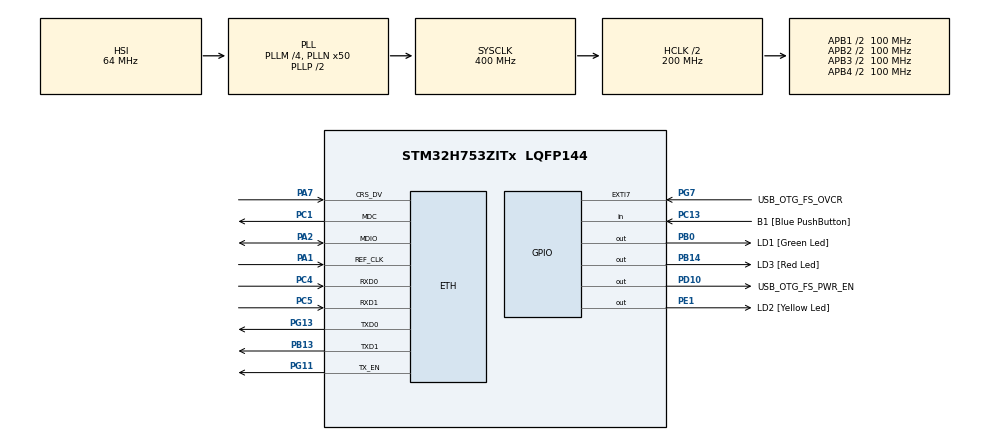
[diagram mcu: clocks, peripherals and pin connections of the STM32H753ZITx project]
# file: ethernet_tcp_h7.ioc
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CORTEX_M7.AccessPermission_S-Cortex_Memory_Protection_Unit_Region1_Settings_S=MPU_REGION_FULL_ACCESS
CORTEX_M7.AccessPermission_S-Cortex_Memory_Protection_Unit_Region2_Settings_S=MPU_REGION_FULL_ACCESS
CORTEX_M7.BaseAddress_S-Cortex_Memory_Protection_Unit_Region1_Settings_S=0x30000000
CORTEX_M7.BaseAddress_S-Cortex_Memory_Protection_Unit_Region2_Settings_S=0x30000000
CORTEX_M7.CPU_DCache=Enabled
CORTEX_M7.CPU_ICache=Enabled
CORTEX_M7.Enable_S-Cortex_Memory_Protection_Unit_Region1_Settings_S=MPU_REGION_ENABLE
CORTEX_M7.Enable_S-Cortex_Memory_Protection_Unit_Region2_Settings_S=MPU_REGION_ENABLE
CORTEX_M7.MPU_Control=MPU_PRIVILEGED_DEFAULT
CORTEX_M7.Size_S-Cortex_Memory_Protection_Unit_Region1_Settings_S=MPU_REGION_SIZE_64KB
CORTEX_M7.Size_S-Cortex_Memory_Protection_Unit_Region2_Settings_S=MPU_REGION_SIZE_256B
CORTEX_M7.TypeExtField_S-Cortex_Memory_Protection_Unit_Region1_Settings_S=MPU_TEX_LEVEL1
CORTEX_M7.default_mode_Activation=1
ETH.MediaInterface=HAL_ETH_RMII_MODE
LWIP.BSP.number=1
LWIP.IP_ADDRESS=192.168.001.004
LWIP.LWIP_DHCP=0
LWIP.MEMP_NUM_TCP_SEG=17
LWIP.MEM_SIZE=10000
LWIP.NETMASK_ADDRESS=255.255.255.000
LWIP.TCP_MSS=1460
LWIP.TCP_QUEUE_OOSEQ=0
LWIP.TCP_SND_BUF=5840
LWIP.Version=v2.1.2_Cube
LWIP0.BSP.STBoard=false
LWIP0.BSP.api=BSP_COMPONENT_DRIVER
LWIP0.BSP.component=LAN8742
LWIP0.BSP.instance=LAN8742
LWIP0.BSP.name=Driver_PHY
LWIP0.BSP.semaphore=S_LAN8742
LWIP0.BSP.solution=LAN8742
Mcu.Family=STM32H7
Mcu.Name=STM32H753ZITx
Mcu.Package=LQFP144
NVIC.PriorityGroup=NVIC_PRIORITYGROUP_4
PA1.GPIO_Speed=GPIO_SPEED_FREQ_VERY_HIGH
PA1.Mode=RMII
PA1.Signal=ETH_REF_CLK
PA11.Signal=USB_OTG_FS_DM
PA12.Signal=USB_OTG_FS_DP
PA2.GPIO_Speed=GPIO_SPEED_FREQ_VERY_HIGH
PA2.Mode=RMII
PA2.Signal=ETH_MDIO
PA7.GPIO_Speed=GPIO_SPEED_FREQ_VERY_HIGH
PA7.Mode=RMII
PA7.Signal=ETH_CRS_DV
PA8.Signal=USB_OTG_FS_SOF
PA9.Signal=USB_OTG_FS_VBUS
PB0.GPIO_Label=LD1 [Green Led]
PB0.Signal=GPIO_Output
PB13.GPIO_Speed=GPIO_SPEED_FREQ_VERY_HIGH
PB13.Mode=RMII
PB13.Signal=ETH_TXD1
PB14.GPIO_Label=LD3 [Red Led]
PB14.Signal=GPIO_Output
PC1.GPIO_Speed=GPIO_SPEED_FREQ_VERY_HIGH
PC1.Mode=RMII
PC1.Signal=ETH_MDC
PC13.GPIO_Label=B1 [Blue PushButton]
PC13.Signal=GPIO_Input
PC14-OSC32_IN\ (OSC32_IN).Signal=RCC_OSC32_IN
PC15-OSC32_OUT\ (OSC32_OUT).Signal=RCC_OSC32_OUT
PC4.GPIO_Speed=GPIO_SPEED_FREQ_VERY_HIGH
PC4.Mode=RMII
PC4.Signal=ETH_RXD0
PC5.GPIO_Speed=GPIO_SPEED_FREQ_VERY_HIGH
PC5.Mode=RMII
PC5.Signal=ETH_RXD1
PD10.GPIO_Label=USB_OTG_FS_PWR_EN
PD10.Signal=GPIO_Output
PD8.GPIO_Label=STLINK_RX
PD8.Signal=USART3_TX
PD9.GPIO_Label=STLINK_TX
PD9.Signal=USART3_RX
PE1.GPIO_Label=LD2 [Yellow Led]
PE1.Signal=GPIO_Output
PG11.GPIO_Speed=GPIO_SPEED_FREQ_VERY_HIGH
PG11.Mode=RMII
PG11.Signal=ETH_TX_EN
PG13.GPIO_Speed=GPIO_SPEED_FREQ_VERY_HIGH
PG13.Mode=RMII
PG13.Signal=ETH_TXD0
PG7.GPIO_Label=USB_OTG_FS_OVCR
PG7.Signal=GPXTI7
PH0-OSC_IN\ (PH0).Signal=RCC_OSC_IN
PH1-OSC_OUT\ (PH1).Signal=RCC_OSC_OUT
ProjectManager.HeapSize=0x200
ProjectManager.StackSize=0x400
ProjectManager.TargetToolchain=STM32CubeIDE
RCC.ADCFreq_Value=129000000
RCC.APB1Freq_Value=100000000
RCC.APB2Freq_Value=100000000
RCC.APB3Freq_Value=100000000
RCC.APB4Freq_Value=100000000
RCC.CortexFreq_Value=400000000
RCC.D1PPRE=RCC_APB3_DIV2
RCC.D2PPRE1=RCC_APB1_DIV2
RCC.D2PPRE2=RCC_APB2_DIV2
RCC.D3PPRE=RCC_APB4_DIV2
RCC.DIVM1=4
RCC.DIVN1=50
RCC.DIVQ1=4
RCC.HCLKFreq_Value=200000000
RCC.HPRE=RCC_HCLK_DIV2
RCC.HSE_VALUE=8000000
RCC.PLL2FRACN=0
RCC.PLL3FRACN=0
RCC.PLLFRACN=0
RCC.PWR_Regulator_Voltage_Scale=PWR_REGULATOR_VOLTAGE_SCALE1
RCC.SYSCLKFreq_VALUE=400000000
RCC.SYSCLKSource=RCC_SYSCLKSOURCE_PLLCLK
RCC.USBFreq_Value=200000000
VP_LWIP_VS_Enabled.Mode=Enabled
VP_MEMORYMAP_VS_MEMORYMAP.Mode=CurAppReg
board=NUCLEO-H753ZI

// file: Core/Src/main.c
/* USER CODE BEGIN Header */
/**
  ******************************************************************************
  * @file           : main.c
  * @brief          : Main program body
  ******************************************************************************
  * @attention
  *
  * Copyright (c) 2024 STMicroelectronics.
  * All rights reserved.
  *
  * This software is licensed under terms that can be found in the LICENSE file
  * in the root directory of this software component.
  * If no LICENSE file comes with this software, it is provided AS-IS.
  *
  ******************************************************************************
  */
/* USER CODE END Header */
#include "main.h"
#include "lwip.h"

/* USER CODE BEGIN Includes */
#include "lwip/tcp.h"
/* USER CODE END Includes */

/* USER CODE BEGIN PV */
uint32_t connect=0;
struct tcp_pcb *tcp_echoserver_pcb;
uint8_t data[100] = {"Hello"};
/* USER CODE END PV */

void SystemClock_Config(void);
static void MPU_Config(void);
static void MX_GPIO_Init(void);
/* USER CODE BEGIN PFP */
static err_t tcp_echoclient_sent(void *arg, struct tcp_pcb *tpcb, u16_t len);
static err_t tcp_echoserver_accept(void *arg, struct tcp_pcb *tpcb, err_t err);
static err_t tcp_echoclient_poll(void *arg, struct tcp_pcb *tpcb);
static err_t tcp_echoclient_recv(void *arg, struct tcp_pcb *tpcb, struct pbuf *p, err_t err);
/* USER CODE END PFP */

/* USER CODE BEGIN 0 */
/**
  * @brief Function called when TCP connection established
  * @param tpcb: pointer on the connection control block
  * @param err: when connection correctly established err should be ERR_OK
  * @retval err_t: returned error
  */
static err_t tcp_echoserver_accept(void *arg, struct tcp_pcb *tpcb, err_t err){
  __NOP();

  /* initialize LwIP tcp_sent callback function */
  tcp_sent(tpcb, tcp_echoclient_sent);

  /* initialize LwIP tcp_poll callback function */
  tcp_poll(tpcb, tcp_echoclient_poll, 10);

  /* initialize LwIP tcp_recv callback function */
  tcp_recv(tpcb, tcp_echoclient_recv);
  return ERR_OK;
}

/**
  * @brief tcp_receiv callback
  * @param arg: argument to be passed to receive callback
  * @param tpcb: tcp connection control block
  * @param err: receive error code
  * @retval err_t: returned error
  */
static err_t tcp_echoclient_recv(void *arg, struct tcp_pcb *tpcb, struct pbuf *p, err_t err){
  /* if we receive an empty tcp frame from server => close connection */
  if (p == NULL)
  {
    /* remove callbacks */
    tcp_recv(tpcb, NULL);
    tcp_sent(tpcb, NULL);
    tcp_poll(tpcb, NULL,0);
  }
  else{
      {
        struct pbuf *ptr;
          err_t wr_err = ERR_OK;
        /* enqueue data for transmission */
        wr_err = tcp_write(tpcb, p->payload, p->tot_len, 1);
      }
         /* Acknowledge data reception */
      tcp_recved(tpcb, p->tot_len);
      pbuf_free(p);
  }
  return ERR_OK;
}

/**
  * @brief  This function implements the tcp_poll callback function
  * @param  arg: pointer on argument passed to callback
  * @param  tpcb: tcp connection control block
  * @retval err_t: error code
  */
static err_t tcp_echoclient_poll(void *arg, struct tcp_pcb *tpcb){
  /*sending data*/
  {
    struct pbuf *ptr;
      err_t wr_err = ERR_OK;
    /* enqueue data for transmission */
    wr_err = tcp_write(tpcb, data, 10, 1);
  }
  return ERR_OK;
}

/**
  * @brief  This function implements the tcp_sent LwIP callback (called when ACK
  *         is received from remote host for sent data)
  * @param  arg: pointer on argument passed to callback
  * @param  tcp_pcb: tcp connection control block
  * @param  len: length of data sent
  * @retval err_t: returned error code
  */
static err_t tcp_echoclient_sent(void *arg, struct tcp_pcb *tpcb, u16_t len){
  __NOP();
  return ERR_OK;
}
/* USER CODE END 0 */

int main(void)
{

  /* MPU Configuration--------------------------------------------------------*/
  MPU_Config();

  /* Enable the CPU Cache */

  /* Enable I-Cache---------------------------------------------------------*/
  SCB_EnableICache();

  /* Enable D-Cache---------------------------------------------------------*/
  SCB_EnableDCache();

  /* MCU Configuration--------------------------------------------------------*/

  /* Reset of all peripherals, Initializes the Flash interface and the Systick. */
  HAL_Init();

  /* Configure the system clock */
  SystemClock_Config();

  /* Initialize all configured peripherals */
  MX_GPIO_Init();
  MX_LWIP_Init();

  /* Infinite loop */
  /* USER CODE BEGIN WHILE */
  while (1)
  {

    MX_LWIP_Process();
    if(connect){
      connect=0;
      /* create new tcp pcb */
      tcp_echoserver_pcb = tcp_new();
      if (tcp_echoserver_pcb != NULL)
      {
        err_t err;
        /* bind echo_pcb to port 7 (ECHO protocol) */
        err = tcp_bind(tcp_echoserver_pcb, IP_ADDR_ANY, 3999);
        if (err == ERR_OK)
        {
            /* start tcp listening for echo_pcb */
          tcp_echoserver_pcb = tcp_listen(tcp_echoserver_pcb);
          /* initialize LwIP tcp_accept callback function */
          tcp_accept(tcp_echoserver_pcb, tcp_echoserver_accept);
        }
        // ip_addr_t DestIPaddr;
        // IP4_ADDR( &DestIPaddr, 192, 168, 1, 1 );
        /* connect to destination address/port */
        // tcp_connect(echoclient_pcb,&DestIPaddr,3999,tcp_echoclient_connected);
      }
    }
    /* USER CODE END WHILE */

  }
}

void SystemClock_Config(void)
{
  RCC_OscInitTypeDef RCC_OscInitStruct = {0};
  RCC_ClkInitTypeDef RCC_ClkInitStruct = {0};

  /** Supply configuration update enable
  */
  HAL_PWREx_ConfigSupply(PWR_LDO_SUPPLY);

  /** Configure the main internal regulator output voltage
  */
  __HAL_PWR_VOLTAGESCALING_CONFIG(PWR_REGULATOR_VOLTAGE_SCALE1);

  while(!__HAL_PWR_GET_FLAG(PWR_FLAG_VOSRDY)) {}

  /** Initializes the RCC Oscillators according to the specified parameters
  * in the RCC_OscInitTypeDef structure.
  */
  RCC_OscInitStruct.OscillatorType = RCC_OSCILLATORTYPE_HSI;
  RCC_OscInitStruct.HSIState = RCC_HSI_DIV1;
  RCC_OscInitStruct.HSICalibrationValue = RCC_HSICALIBRATION_DEFAULT;
  RCC_OscInitStruct.PLL.PLLState = RCC_PLL_ON;
  RCC_OscInitStruct.PLL.PLLSource = RCC_PLLSOURCE_HSI;
  RCC_OscInitStruct.PLL.PLLM = 4;
  RCC_OscInitStruct.PLL.PLLN = 50;
  RCC_OscInitStruct.PLL.PLLP = 2;
  RCC_OscInitStruct.PLL.PLLQ = 4;
  RCC_OscInitStruct.PLL.PLLR = 2;
  RCC_OscInitStruct.PLL.PLLRGE = RCC_PLL1VCIRANGE_3;
  RCC_OscInitStruct.PLL.PLLVCOSEL = RCC_PLL1VCOWIDE;
  RCC_OscInitStruct.PLL.PLLFRACN = 0;
  if (HAL_RCC_OscConfig(&RCC_OscInitStruct) != HAL_OK)
  {
    Error_Handler();
  }

  /** Initializes the CPU, AHB and APB buses clocks
  */
  RCC_ClkInitStruct.ClockType = RCC_CLOCKTYPE_HCLK|RCC_CLOCKTYPE_SYSCLK
                              |RCC_CLOCKTYPE_PCLK1|RCC_CLOCKTYPE_PCLK2
                              |RCC_CLOCKTYPE_D3PCLK1|RCC_CLOCKTYPE_D1PCLK1;
  RCC_ClkInitStruct.SYSCLKSource = RCC_SYSCLKSOURCE_PLLCLK;
  RCC_ClkInitStruct.SYSCLKDivider = RCC_SYSCLK_DIV1;
  RCC_ClkInitStruct.AHBCLKDivider = RCC_HCLK_DIV2;
  RCC_ClkInitStruct.APB3CLKDivider = RCC_APB3_DIV2;
  RCC_ClkInitStruct.APB1CLKDivider = RCC_APB1_DIV2;
  RCC_ClkInitStruct.APB2CLKDivider = RCC_APB2_DIV2;
  RCC_ClkInitStruct.APB4CLKDivider = RCC_APB4_DIV2;

  if (HAL_RCC_ClockConfig(&RCC_ClkInitStruct, FLASH_LATENCY_2) != HAL_OK)
  {
    Error_Handler();
  }
}

static void MX_GPIO_Init(void)
{
  GPIO_InitTypeDef GPIO_InitStruct = {0};

  /* GPIO Ports Clock Enable */
  __HAL_RCC_GPIOC_CLK_ENABLE();
  __HAL_RCC_GPIOH_CLK_ENABLE();
  __HAL_RCC_GPIOA_CLK_ENABLE();
  __HAL_RCC_GPIOB_CLK_ENABLE();
  __HAL_RCC_GPIOD_CLK_ENABLE();
  __HAL_RCC_GPIOG_CLK_ENABLE();
  __HAL_RCC_GPIOE_CLK_ENABLE();

  /*Configure GPIO pin Output Level */
  HAL_GPIO_WritePin(GPIOB, LD1_Pin|LD3_Pin, GPIO_PIN_RESET);

  /*Configure GPIO pin Output Level */
  HAL_GPIO_WritePin(USB_OTG_FS_PWR_EN_GPIO_Port, USB_OTG_FS_PWR_EN_Pin, GPIO_PIN_RESET);

  /*Configure GPIO pin Output Level */
  HAL_GPIO_WritePin(LD2_GPIO_Port, LD2_Pin, GPIO_PIN_RESET);

  /*Configure GPIO pin : B1_Pin */
  GPIO_InitStruct.Pin = B1_Pin;
  GPIO_InitStruct.Mode = GPIO_MODE_INPUT;
  GPIO_InitStruct.Pull = GPIO_NOPULL;
  HAL_GPIO_Init(B1_GPIO_Port, &GPIO_InitStruct);

  /*Configure GPIO pins : LD1_Pin LD3_Pin */
  GPIO_InitStruct.Pin = LD1_Pin|LD3_Pin;
  GPIO_InitStruct.Mode = GPIO_MODE_OUTPUT_PP;
  GPIO_InitStruct.Pull = GPIO_NOPULL;
  GPIO_InitStruct.Speed = GPIO_SPEED_FREQ_LOW;
  HAL_GPIO_Init(GPIOB, &GPIO_InitStruct);

  /*Configure GPIO pins : STLINK_RX_Pin STLINK_TX_Pin */
  GPIO_InitStruct.Pin = STLINK_RX_Pin|STLINK_TX_Pin;
  GPIO_InitStruct.Mode = GPIO_MODE_AF_PP;
  GPIO_InitStruct.Pull = GPIO_NOPULL;
  GPIO_InitStruct.Speed = GPIO_SPEED_FREQ_LOW;
  GPIO_InitStruct.Alternate = GPIO_AF7_USART3;
  HAL_GPIO_Init(GPIOD, &GPIO_InitStruct);

  /*Configure GPIO pin : USB_OTG_FS_PWR_EN_Pin */
  GPIO_InitStruct.Pin = USB_OTG_FS_PWR_EN_Pin;
  GPIO_InitStruct.Mode = GPIO_MODE_OUTPUT_PP;
  GPIO_InitStruct.Pull = GPIO_NOPULL;
  GPIO_InitStruct.Speed = GPIO_SPEED_FREQ_LOW;
  HAL_GPIO_Init(USB_OTG_FS_PWR_EN_GPIO_Port, &GPIO_InitStruct);

  /*Configure GPIO pin : USB_OTG_FS_OVCR_Pin */
  GPIO_InitStruct.Pin = USB_OTG_FS_OVCR_Pin;
  GPIO_InitStruct.Mode = GPIO_MODE_IT_RISING;
  GPIO_InitStruct.Pull = GPIO_NOPULL;
  HAL_GPIO_Init(USB_OTG_FS_OVCR_GPIO_Port, &GPIO_InitStruct);

  /*Configure GPIO pins : PA8 PA11 PA12 */
  GPIO_InitStruct.Pin = GPIO_PIN_8|GPIO_PIN_11|GPIO_PIN_12;
  GPIO_InitStruct.Mode = GPIO_MODE_AF_PP;
  GPIO_InitStruct.Pull = GPIO_NOPULL;
  GPIO_InitStruct.Speed = GPIO_SPEED_FREQ_LOW;
  GPIO_InitStruct.Alternate = GPIO_AF10_OTG1_FS;
  HAL_GPIO_Init(GPIOA, &GPIO_InitStruct);

  /*Configure GPIO pin : LD2_Pin */
  GPIO_InitStruct.Pin = LD2_Pin;
  GPIO_InitStruct.Mode = GPIO_MODE_OUTPUT_PP;
  GPIO_InitStruct.Pull = GPIO_NOPULL;
  GPIO_InitStruct.Speed = GPIO_SPEED_FREQ_LOW;
  HAL_GPIO_Init(LD2_GPIO_Port, &GPIO_InitStruct);

}

 /* MPU Configuration */

void MPU_Config(void)
{
  MPU_Region_InitTypeDef MPU_InitStruct = {0};

  /* Disables the MPU */
  HAL_MPU_Disable();

  /** Initializes and configures the Region and the memory to be protected
  */
  MPU_InitStruct.Enable = MPU_REGION_ENABLE;
  MPU_InitStruct.Number = MPU_REGION_NUMBER0;
  MPU_InitStruct.BaseAddress = 0x0;
  MPU_InitStruct.Size = MPU_REGION_SIZE_4GB;
  MPU_InitStruct.SubRegionDisable = 0x87;
  MPU_InitStruct.TypeExtField = MPU_TEX_LEVEL0;
  MPU_InitStruct.AccessPermission = MPU_REGION_NO_ACCESS;
  MPU_InitStruct.DisableExec = MPU_INSTRUCTION_ACCESS_DISABLE;
  MPU_InitStruct.IsShareable = MPU_ACCESS_SHAREABLE;
  MPU_InitStruct.IsCacheable = MPU_ACCESS_NOT_CACHEABLE;
  MPU_InitStruct.IsBufferable = MPU_ACCESS_NOT_BUFFERABLE;

  HAL_MPU_ConfigRegion(&MPU_InitStruct);

  /** Initializes and configures the Region and the memory to be protected
  */
  MPU_InitStruct.Number = MPU_REGION_NUMBER1;
  MPU_InitStruct.BaseAddress = 0x30000000;
  MPU_InitStruct.Size = MPU_REGION_SIZE_64KB;
  MPU_InitStruct.SubRegionDisable = 0x0;
  MPU_InitStruct.TypeExtField = MPU_TEX_LEVEL1;
  MPU_InitStruct.AccessPermission = MPU_REGION_FULL_ACCESS;
  MPU_InitStruct.DisableExec = MPU_INSTRUCTION_ACCESS_ENABLE;
  MPU_InitStruct.IsShareable = MPU_ACCESS_NOT_SHAREABLE;

  HAL_MPU_ConfigRegion(&MPU_InitStruct);

  /** Initializes and configures the Region and the memory to be protected
  */
  MPU_InitStruct.Number = MPU_REGION_NUMBER2;
  MPU_InitStruct.Size = MPU_REGION_SIZE_256B;
  MPU_InitStruct.TypeExtField = MPU_TEX_LEVEL0;

  HAL_MPU_ConfigRegion(&MPU_InitStruct);
  /* Enables the MPU */
  HAL_MPU_Enable(MPU_PRIVILEGED_DEFAULT);

}

void Error_Handler(void)
{
  __disable_irq();
  while (1)
  {
  }
}
